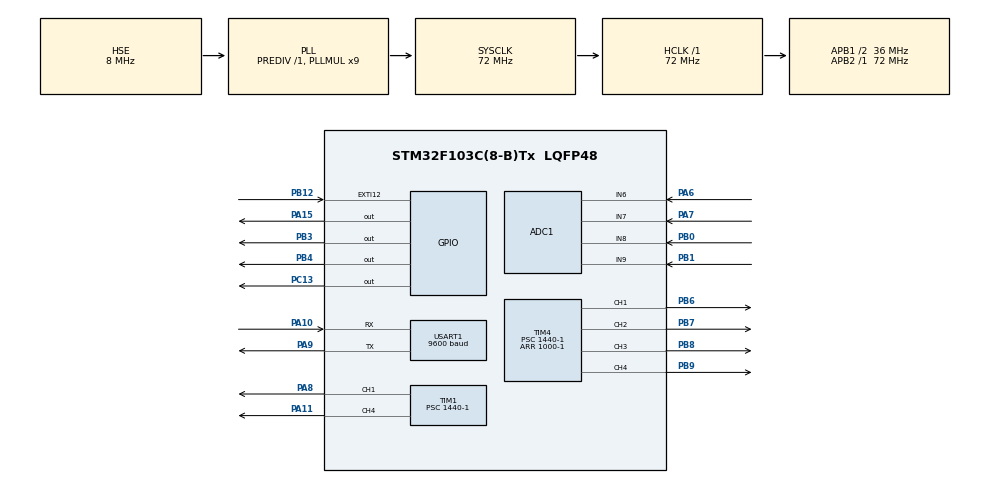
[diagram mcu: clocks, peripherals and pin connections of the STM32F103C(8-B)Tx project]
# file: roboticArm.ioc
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ADC1.Channel-0\#ChannelRegularConversion=ADC_CHANNEL_7
ADC1.Channel-1\#ChannelRegularConversion=ADC_CHANNEL_6
ADC1.Channel-2\#ChannelRegularConversion=ADC_CHANNEL_8
ADC1.Channel-3\#ChannelRegularConversion=ADC_CHANNEL_9
ADC1.ContinuousConvMode=ENABLE
ADC1.NbrOfConversion=4
ADC1.NbrOfConversionFlag=1
ADC1.Rank-0\#ChannelRegularConversion=1
ADC1.Rank-1\#ChannelRegularConversion=2
ADC1.Rank-2\#ChannelRegularConversion=3
ADC1.Rank-3\#ChannelRegularConversion=4
ADC1.SamplingTime-0\#ChannelRegularConversion=ADC_SAMPLETIME_239CYCLES_5
ADC1.SamplingTime-1\#ChannelRegularConversion=ADC_SAMPLETIME_239CYCLES_5
ADC1.SamplingTime-2\#ChannelRegularConversion=ADC_SAMPLETIME_239CYCLES_5
ADC1.SamplingTime-3\#ChannelRegularConversion=ADC_SAMPLETIME_239CYCLES_5
ADC1.master=1
Dma.ADC1.0.Direction=DMA_PERIPH_TO_MEMORY
Dma.ADC1.0.Instance=DMA1_Channel1
Dma.ADC1.0.MemDataAlignment=DMA_MDATAALIGN_WORD
Dma.ADC1.0.MemInc=DMA_MINC_ENABLE
Dma.ADC1.0.Mode=DMA_CIRCULAR
Dma.ADC1.0.PeriphDataAlignment=DMA_PDATAALIGN_WORD
Dma.ADC1.0.PeriphInc=DMA_PINC_DISABLE
Dma.ADC1.0.Priority=DMA_PRIORITY_LOW
Dma.Request0=ADC1
Dma.Request1=USART1_TX
Dma.USART1_TX.1.Direction=DMA_MEMORY_TO_PERIPH
Dma.USART1_TX.1.Instance=DMA1_Channel4
Dma.USART1_TX.1.MemDataAlignment=DMA_MDATAALIGN_BYTE
Dma.USART1_TX.1.MemInc=DMA_MINC_ENABLE
Dma.USART1_TX.1.Mode=DMA_NORMAL
Dma.USART1_TX.1.PeriphDataAlignment=DMA_PDATAALIGN_BYTE
Dma.USART1_TX.1.PeriphInc=DMA_PINC_DISABLE
Dma.USART1_TX.1.Priority=DMA_PRIORITY_LOW
Mcu.Family=STM32F1
Mcu.Name=STM32F103C(8-B)Tx
Mcu.Package=LQFP48
NVIC.ADC1_2_IRQn=true\:0\:0\:false\:false\:true\:true\:true\:true
NVIC.DMA1_Channel1_IRQn=true\:0\:0\:false\:false\:true\:false\:true\:true
NVIC.DMA1_Channel4_IRQn=true\:0\:0\:false\:false\:true\:false\:true\:true
NVIC.EXTI15_10_IRQn=true\:0\:0\:false\:false\:true\:true\:true\:true
NVIC.PriorityGroup=NVIC_PRIORITYGROUP_4
NVIC.TIM2_IRQn=true\:0\:0\:false\:false\:true\:true\:true\:true
NVIC.USART1_IRQn=true\:0\:0\:false\:false\:true\:true\:true\:true
PA10.Mode=Asynchronous
PA10.Signal=USART1_RX
PA11.Signal=S_TIM1_CH4
PA13.Mode=Serial_Wire
PA13.Signal=SYS_JTMS-SWDIO
PA14.Mode=Serial_Wire
PA14.Signal=SYS_JTCK-SWCLK
PA15.PinState=GPIO_PIN_SET
PA15.Signal=GPIO_Output
PA6.Signal=ADCx_IN6
PA7.Signal=ADCx_IN7
PA8.Signal=S_TIM1_CH1
PA9.Mode=Asynchronous
PA9.Signal=USART1_TX
PB0.Signal=ADCx_IN8
PB1.Signal=ADCx_IN9
PB12.Signal=GPXTI12
PB3.PinState=GPIO_PIN_RESET
PB3.Signal=GPIO_Output
PB4.PinState=GPIO_PIN_RESET
PB4.Signal=GPIO_Output
PB6.Signal=S_TIM4_CH1
PB7.Signal=S_TIM4_CH2
PB8.Signal=S_TIM4_CH3
PB9.Signal=S_TIM4_CH4
PC13-TAMPER-RTC.PinState=GPIO_PIN_SET
PC13-TAMPER-RTC.Signal=GPIO_Output
PD0-OSC_IN.Mode=HSE-External-Oscillator
PD0-OSC_IN.Signal=RCC_OSC_IN
PD1-OSC_OUT.Mode=HSE-External-Oscillator
PD1-OSC_OUT.Signal=RCC_OSC_OUT
ProjectManager.HeapSize=0x200
ProjectManager.StackSize=0x400
ProjectManager.TargetToolchain=STM32CubeIDE
RCC.ADCPresc=RCC_ADCPCLK2_DIV6
RCC.AHBFreq_Value=72000000
RCC.APB1CLKDivider=RCC_HCLK_DIV2
RCC.APB1Freq_Value=36000000
RCC.APB1TimFreq_Value=72000000
RCC.APB2Freq_Value=72000000
RCC.APB2TimFreq_Value=72000000
RCC.HCLKFreq_Value=72000000
RCC.PLLMUL=RCC_PLL_MUL9
RCC.PLLSourceVirtual=RCC_PLLSOURCE_HSE
RCC.SYSCLKFreq_VALUE=72000000
RCC.SYSCLKSource=RCC_SYSCLKSOURCE_PLLCLK
RCC.USBFreq_Value=72000000
SH.ADCx_IN6.0=ADC1_IN6,IN6
SH.ADCx_IN7.0=ADC1_IN7,IN7
SH.ADCx_IN8.0=ADC1_IN8,IN8
SH.ADCx_IN9.0=ADC1_IN9,IN9
SH.S_TIM1_CH1.0=TIM1_CH1,PWM Generation1 CH1
SH.S_TIM1_CH4.0=TIM1_CH4,PWM Generation4 CH4
SH.S_TIM4_CH1.0=TIM4_CH1,PWM Generation1 CH1
SH.S_TIM4_CH2.0=TIM4_CH2,PWM Generation2 CH2
SH.S_TIM4_CH3.0=TIM4_CH3,PWM Generation3 CH3
SH.S_TIM4_CH4.0=TIM4_CH4,PWM Generation4 CH4
TIM1.Channel-PWM\ Generation1\ CH1=TIM_CHANNEL_1
TIM1.Channel-PWM\ Generation4\ CH4=TIM_CHANNEL_4
TIM1.Period=1000-1
TIM1.Prescaler=1440-1
TIM2.Period=1000-1
TIM2.Prescaler=36000-1
TIM4.Channel-PWM\ Generation1\ CH1=TIM_CHANNEL_1
TIM4.Channel-PWM\ Generation2\ CH2=TIM_CHANNEL_2
TIM4.Channel-PWM\ Generation3\ CH3=TIM_CHANNEL_3
TIM4.Channel-PWM\ Generation4\ CH4=TIM_CHANNEL_4
TIM4.Period=1000-1
TIM4.Prescaler=1440-1
USART1.BaudRate=9600
USART1.VirtualMode=VM_ASYNC
VP_TIM1_VS_ClockSourceINT.Mode=Internal
VP_TIM2_VS_ClockSourceINT.Mode=Internal
VP_TIM4_VS_ClockSourceINT.Mode=Internal
board=custom

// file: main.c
/* USER CODE BEGIN Header */
/**
  ******************************************************************************
  * @file           : main.c
  * @brief          : Main program body
  ******************************************************************************
  * @attention
  *
  * Copyright (c) 2025 STMicroelectronics.
  * All rights reserved.
  *
  * This software is licensed under terms that can be found in the LICENSE file
  * in the root directory of this software component.
  * If no LICENSE file comes with this software, it is provided AS-IS.
  *
  ******************************************************************************
  */
/* USER CODE END Header */
#include "main.h"

/* USER CODE BEGIN Includes */
#include "servo.h"
#include "joystick.h"
/* USER CODE END Includes */

ADC_HandleTypeDef hadc1;
DMA_HandleTypeDef hdma_adc1;

TIM_HandleTypeDef htim1;
TIM_HandleTypeDef htim2;
TIM_HandleTypeDef htim4;

UART_HandleTypeDef huart1;
DMA_HandleTypeDef hdma_usart1_tx;

/* USER CODE BEGIN PV */
uint32_t joystick_ADC_readValue[4] = {0};
double x = 0.0;
double y = 0.0;
double z = 24.0;
double clawAngle = 0.0;
uint8_t is_checkAngle = 0;
/* USER CODE END PV */

void SystemClock_Config(void);
static void MX_GPIO_Init(void);
static void MX_DMA_Init(void);
static void MX_TIM1_Init(void);
static void MX_TIM2_Init(void);
static void MX_TIM4_Init(void);
static void MX_ADC1_Init(void);
static void MX_USART1_UART_Init(void);

/* USER CODE BEGIN 0 */
void HAL_TIM_PeriodElapsedCallback(TIM_HandleTypeDef *htim) {
	if (htim->Instance == TIM2)	HAL_GPIO_TogglePin(GPIOC, GPIO_PIN_13);
}

void HAL_ADC_ConvCpltCallback(ADC_HandleTypeDef* hadc) {
	if (hadc->Instance == ADC1) {
		joystick_ADC_task(&x, &y, &z, &clawAngle, joystick_ADC_readValue);
	}
}

void HAL_GPIO_EXTI_Callback(uint16_t GPIO_Pin) {
	if (GPIO_Pin == GPIO_PIN_12) {
		is_checkAngle ^= 1;
	}
}
/* USER CODE END 0 */

int main(void)
{

  /* MCU Configuration--------------------------------------------------------*/

  /* Reset of all peripherals, Initializes the Flash interface and the Systick. */
  HAL_Init();

  /* Configure the system clock */
  SystemClock_Config();

  /* Initialize all configured peripherals */
  MX_GPIO_Init();
  MX_DMA_Init();
  MX_TIM1_Init();
  MX_TIM2_Init();
  MX_TIM4_Init();
  MX_ADC1_Init();
  MX_USART1_UART_Init();
  /* USER CODE BEGIN 2 */
  HAL_TIM_Base_Start_IT(&htim2);
  Servo_Init();

  HAL_ADC_Start_DMA(&hadc1, joystick_ADC_readValue, 4);
  /* USER CODE END 2 */

  /* Infinite loop */
  /* USER CODE BEGIN WHILE */
  while (1)
  {
	  static uint32_t last = 0;
	  uint32_t now = HAL_GetTick();

	  if (!is_checkAngle) {
		  if (now - last >= 30) {
			  moveToPos(x, y, z);
			  setClawAngle(clawAngle);
			  last = now;
		  }
	  } else {
		  checkAngle();
	  }
    /* USER CODE END WHILE */

  }
}

void SystemClock_Config(void)
{
  RCC_OscInitTypeDef RCC_OscInitStruct = {0};
  RCC_ClkInitTypeDef RCC_ClkInitStruct = {0};
  RCC_PeriphCLKInitTypeDef PeriphClkInit = {0};

  /** Initializes the RCC Oscillators according to the specified parameters
  * in the RCC_OscInitTypeDef structure.
  */
  RCC_OscInitStruct.OscillatorType = RCC_OSCILLATORTYPE_HSE;
  RCC_OscInitStruct.HSEState = RCC_HSE_ON;
  RCC_OscInitStruct.HSEPredivValue = RCC_HSE_PREDIV_DIV1;
  RCC_OscInitStruct.HSIState = RCC_HSI_ON;
  RCC_OscInitStruct.PLL.PLLState = RCC_PLL_ON;
  RCC_OscInitStruct.PLL.PLLSource = RCC_PLLSOURCE_HSE;
  RCC_OscInitStruct.PLL.PLLMUL = RCC_PLL_MUL9;
  if (HAL_RCC_OscConfig(&RCC_OscInitStruct) != HAL_OK)
  {
    Error_Handler();
  }

  /** Initializes the CPU, AHB and APB buses clocks
  */
  RCC_ClkInitStruct.ClockType = RCC_CLOCKTYPE_HCLK|RCC_CLOCKTYPE_SYSCLK
                              |RCC_CLOCKTYPE_PCLK1|RCC_CLOCKTYPE_PCLK2;
  RCC_ClkInitStruct.SYSCLKSource = RCC_SYSCLKSOURCE_PLLCLK;
  RCC_ClkInitStruct.AHBCLKDivider = RCC_SYSCLK_DIV1;
  RCC_ClkInitStruct.APB1CLKDivider = RCC_HCLK_DIV2;
  RCC_ClkInitStruct.APB2CLKDivider = RCC_HCLK_DIV1;

  if (HAL_RCC_ClockConfig(&RCC_ClkInitStruct, FLASH_LATENCY_2) != HAL_OK)
  {
    Error_Handler();
  }
  PeriphClkInit.PeriphClockSelection = RCC_PERIPHCLK_ADC;
  PeriphClkInit.AdcClockSelection = RCC_ADCPCLK2_DIV6;
  if (HAL_RCCEx_PeriphCLKConfig(&PeriphClkInit) != HAL_OK)
  {
    Error_Handler();
  }
}

static void MX_ADC1_Init(void)
{

  ADC_ChannelConfTypeDef sConfig = {0};

  /** Common config
  */
  hadc1.Instance = ADC1;
  hadc1.Init.ScanConvMode = ADC_SCAN_ENABLE;
  hadc1.Init.ContinuousConvMode = ENABLE;
  hadc1.Init.DiscontinuousConvMode = DISABLE;
  hadc1.Init.ExternalTrigConv = ADC_SOFTWARE_START;
  hadc1.Init.DataAlign = ADC_DATAALIGN_RIGHT;
  hadc1.Init.NbrOfConversion = 4;
  if (HAL_ADC_Init(&hadc1) != HAL_OK)
  {
    Error_Handler();
  }

  /** Configure Regular Channel
  */
  sConfig.Channel = ADC_CHANNEL_7;
  sConfig.Rank = ADC_REGULAR_RANK_1;
  sConfig.SamplingTime = ADC_SAMPLETIME_239CYCLES_5;
  if (HAL_ADC_ConfigChannel(&hadc1, &sConfig) != HAL_OK)
  {
    Error_Handler();
  }

  /** Configure Regular Channel
  */
  sConfig.Channel = ADC_CHANNEL_6;
  sConfig.Rank = ADC_REGULAR_RANK_2;
  if (HAL_ADC_ConfigChannel(&hadc1, &sConfig) != HAL_OK)
  {
    Error_Handler();
  }

  /** Configure Regular Channel
  */
  sConfig.Channel = ADC_CHANNEL_8;
  sConfig.Rank = ADC_REGULAR_RANK_3;
  if (HAL_ADC_ConfigChannel(&hadc1, &sConfig) != HAL_OK)
  {
    Error_Handler();
  }

  /** Configure Regular Channel
  */
  sConfig.Channel = ADC_CHANNEL_9;
  sConfig.Rank = ADC_REGULAR_RANK_4;
  if (HAL_ADC_ConfigChannel(&hadc1, &sConfig) != HAL_OK)
  {
    Error_Handler();
  }

}

static void MX_TIM1_Init(void)
{

  TIM_ClockConfigTypeDef sClockSourceConfig = {0};
  TIM_MasterConfigTypeDef sMasterConfig = {0};
  TIM_OC_InitTypeDef sConfigOC = {0};
  TIM_BreakDeadTimeConfigTypeDef sBreakDeadTimeConfig = {0};

  htim1.Instance = TIM1;
  htim1.Init.Prescaler = 1440-1;
  htim1.Init.CounterMode = TIM_COUNTERMODE_UP;
  htim1.Init.Period = 1000-1;
  htim1.Init.ClockDivision = TIM_CLOCKDIVISION_DIV1;
  htim1.Init.RepetitionCounter = 0;
  htim1.Init.AutoReloadPreload = TIM_AUTORELOAD_PRELOAD_DISABLE;
  if (HAL_TIM_Base_Init(&htim1) != HAL_OK)
  {
    Error_Handler();
  }
  sClockSourceConfig.ClockSource = TIM_CLOCKSOURCE_INTERNAL;
  if (HAL_TIM_ConfigClockSource(&htim1, &sClockSourceConfig) != HAL_OK)
  {
    Error_Handler();
  }
  if (HAL_TIM_PWM_Init(&htim1) != HAL_OK)
  {
    Error_Handler();
  }
  sMasterConfig.MasterOutputTrigger = TIM_TRGO_RESET;
  sMasterConfig.MasterSlaveMode = TIM_MASTERSLAVEMODE_DISABLE;
  if (HAL_TIMEx_MasterConfigSynchronization(&htim1, &sMasterConfig) != HAL_OK)
  {
    Error_Handler();
  }
  sConfigOC.OCMode = TIM_OCMODE_PWM1;
  sConfigOC.Pulse = 0;
  sConfigOC.OCPolarity = TIM_OCPOLARITY_HIGH;
  sConfigOC.OCNPolarity = TIM_OCNPOLARITY_HIGH;
  sConfigOC.OCFastMode = TIM_OCFAST_DISABLE;
  sConfigOC.OCIdleState = TIM_OCIDLESTATE_RESET;
  sConfigOC.OCNIdleState = TIM_OCNIDLESTATE_RESET;
  if (HAL_TIM_PWM_ConfigChannel(&htim1, &sConfigOC, TIM_CHANNEL_1) != HAL_OK)
  {
    Error_Handler();
  }
  if (HAL_TIM_PWM_ConfigChannel(&htim1, &sConfigOC, TIM_CHANNEL_4) != HAL_OK)
  {
    Error_Handler();
  }
  sBreakDeadTimeConfig.OffStateRunMode = TIM_OSSR_DISABLE;
  sBreakDeadTimeConfig.OffStateIDLEMode = TIM_OSSI_DISABLE;
  sBreakDeadTimeConfig.LockLevel = TIM_LOCKLEVEL_OFF;
  sBreakDeadTimeConfig.DeadTime = 0;
  sBreakDeadTimeConfig.BreakState = TIM_BREAK_DISABLE;
  sBreakDeadTimeConfig.BreakPolarity = TIM_BREAKPOLARITY_HIGH;
  sBreakDeadTimeConfig.AutomaticOutput = TIM_AUTOMATICOUTPUT_DISABLE;
  if (HAL_TIMEx_ConfigBreakDeadTime(&htim1, &sBreakDeadTimeConfig) != HAL_OK)
  {
    Error_Handler();
  }
  HAL_TIM_MspPostInit(&htim1);

}

static void MX_TIM2_Init(void)
{

  TIM_ClockConfigTypeDef sClockSourceConfig = {0};
  TIM_MasterConfigTypeDef sMasterConfig = {0};

  htim2.Instance = TIM2;
  htim2.Init.Prescaler = 36000-1;
  htim2.Init.CounterMode = TIM_COUNTERMODE_UP;
  htim2.Init.Period = 1000-1;
  htim2.Init.ClockDivision = TIM_CLOCKDIVISION_DIV1;
  htim2.Init.AutoReloadPreload = TIM_AUTORELOAD_PRELOAD_DISABLE;
  if (HAL_TIM_Base_Init(&htim2) != HAL_OK)
  {
    Error_Handler();
  }
  sClockSourceConfig.ClockSource = TIM_CLOCKSOURCE_INTERNAL;
  if (HAL_TIM_ConfigClockSource(&htim2, &sClockSourceConfig) != HAL_OK)
  {
    Error_Handler();
  }
  sMasterConfig.MasterOutputTrigger = TIM_TRGO_RESET;
  sMasterConfig.MasterSlaveMode = TIM_MASTERSLAVEMODE_DISABLE;
  if (HAL_TIMEx_MasterConfigSynchronization(&htim2, &sMasterConfig) != HAL_OK)
  {
    Error_Handler();
  }

}

static void MX_TIM4_Init(void)
{

  TIM_ClockConfigTypeDef sClockSourceConfig = {0};
  TIM_MasterConfigTypeDef sMasterConfig = {0};
  TIM_OC_InitTypeDef sConfigOC = {0};

  htim4.Instance = TIM4;
  htim4.Init.Prescaler = 1440-1;
  htim4.Init.CounterMode = TIM_COUNTERMODE_UP;
  htim4.Init.Period = 1000-1;
  htim4.Init.ClockDivision = TIM_CLOCKDIVISION_DIV1;
  htim4.Init.AutoReloadPreload = TIM_AUTORELOAD_PRELOAD_DISABLE;
  if (HAL_TIM_Base_Init(&htim4) != HAL_OK)
  {
    Error_Handler();
  }
  sClockSourceConfig.ClockSource = TIM_CLOCKSOURCE_INTERNAL;
  if (HAL_TIM_ConfigClockSource(&htim4, &sClockSourceConfig) != HAL_OK)
  {
    Error_Handler();
  }
  if (HAL_TIM_PWM_Init(&htim4) != HAL_OK)
  {
    Error_Handler();
  }
  sMasterConfig.MasterOutputTrigger = TIM_TRGO_RESET;
  sMasterConfig.MasterSlaveMode = TIM_MASTERSLAVEMODE_DISABLE;
  if (HAL_TIMEx_MasterConfigSynchronization(&htim4, &sMasterConfig) != HAL_OK)
  {
    Error_Handler();
  }
  sConfigOC.OCMode = TIM_OCMODE_PWM1;
  sConfigOC.Pulse = 0;
  sConfigOC.OCPolarity = TIM_OCPOLARITY_HIGH;
  sConfigOC.OCFastMode = TIM_OCFAST_DISABLE;
  if (HAL_TIM_PWM_ConfigChannel(&htim4, &sConfigOC, TIM_CHANNEL_1) != HAL_OK)
  {
    Error_Handler();
  }
  if (HAL_TIM_PWM_ConfigChannel(&htim4, &sConfigOC, TIM_CHANNEL_2) != HAL_OK)
  {
    Error_Handler();
  }
  if (HAL_TIM_PWM_ConfigChannel(&htim4, &sConfigOC, TIM_CHANNEL_3) != HAL_OK)
  {
    Error_Handler();
  }
  if (HAL_TIM_PWM_ConfigChannel(&htim4, &sConfigOC, TIM_CHANNEL_4) != HAL_OK)
  {
    Error_Handler();
  }
  HAL_TIM_MspPostInit(&htim4);

}

static void MX_USART1_UART_Init(void)
{

  huart1.Instance = USART1;
  huart1.Init.BaudRate = 9600;
  huart1.Init.WordLength = UART_WORDLENGTH_8B;
  huart1.Init.StopBits = UART_STOPBITS_1;
  huart1.Init.Parity = UART_PARITY_NONE;
  huart1.Init.Mode = UART_MODE_TX_RX;
  huart1.Init.HwFlowCtl = UART_HWCONTROL_NONE;
  huart1.Init.OverSampling = UART_OVERSAMPLING_16;
  if (HAL_UART_Init(&huart1) != HAL_OK)
  {
    Error_Handler();
  }

}

static void MX_DMA_Init(void)
{

  /* DMA controller clock enable */
  __HAL_RCC_DMA1_CLK_ENABLE();

  /* DMA interrupt init */
  /* DMA1_Channel1_IRQn interrupt configuration */
  HAL_NVIC_SetPriority(DMA1_Channel1_IRQn, 0, 0);
  HAL_NVIC_EnableIRQ(DMA1_Channel1_IRQn);
  /* DMA1_Channel4_IRQn interrupt configuration */
  HAL_NVIC_SetPriority(DMA1_Channel4_IRQn, 0, 0);
  HAL_NVIC_EnableIRQ(DMA1_Channel4_IRQn);

}

static void MX_GPIO_Init(void)
{
  GPIO_InitTypeDef GPIO_InitStruct = {0};

  /* GPIO Ports Clock Enable */
  __HAL_RCC_GPIOC_CLK_ENABLE();
  __HAL_RCC_GPIOD_CLK_ENABLE();
  __HAL_RCC_GPIOA_CLK_ENABLE();
  __HAL_RCC_GPIOB_CLK_ENABLE();

  /*Configure GPIO pin Output Level */
  HAL_GPIO_WritePin(GPIOC, GPIO_PIN_13, GPIO_PIN_SET);

  /*Configure GPIO pin Output Level */
  HAL_GPIO_WritePin(GPIOA, GPIO_PIN_15, GPIO_PIN_SET);

  /*Configure GPIO pin Output Level */
  HAL_GPIO_WritePin(GPIOB, GPIO_PIN_3|GPIO_PIN_4, GPIO_PIN_RESET);

  /*Configure GPIO pin : PC13 */
  GPIO_InitStruct.Pin = GPIO_PIN_13;
  GPIO_InitStruct.Mode = GPIO_MODE_OUTPUT_PP;
  GPIO_InitStruct.Pull = GPIO_NOPULL;
  GPIO_InitStruct.Speed = GPIO_SPEED_FREQ_LOW;
  HAL_GPIO_Init(GPIOC, &GPIO_InitStruct);

  /*Configure GPIO pin : PB12 */
  GPIO_InitStruct.Pin = GPIO_PIN_12;
  GPIO_InitStruct.Mode = GPIO_MODE_IT_RISING;
  GPIO_InitStruct.Pull = GPIO_NOPULL;
  HAL_GPIO_Init(GPIOB, &GPIO_InitStruct);

  /*Configure GPIO pin : PA15 */
  GPIO_InitStruct.Pin = GPIO_PIN_15;
  GPIO_InitStruct.Mode = GPIO_MODE_OUTPUT_PP;
  GPIO_InitStruct.Pull = GPIO_NOPULL;
  GPIO_InitStruct.Speed = GPIO_SPEED_FREQ_LOW;
  HAL_GPIO_Init(GPIOA, &GPIO_InitStruct);

  /*Configure GPIO pins : PB3 PB4 */
  GPIO_InitStruct.Pin = GPIO_PIN_3|GPIO_PIN_4;
  GPIO_InitStruct.Mode = GPIO_MODE_OUTPUT_PP;
  GPIO_InitStruct.Pull = GPIO_NOPULL;
  GPIO_InitStruct.Speed = GPIO_SPEED_FREQ_LOW;
  HAL_GPIO_Init(GPIOB, &GPIO_InitStruct);

  /* EXTI interrupt init*/
  HAL_NVIC_SetPriority(EXTI15_10_IRQn, 0, 0);
  HAL_NVIC_EnableIRQ(EXTI15_10_IRQn);

}

void Error_Handler(void)
{
  __disable_irq();
  while (1)
  {
  }
}
